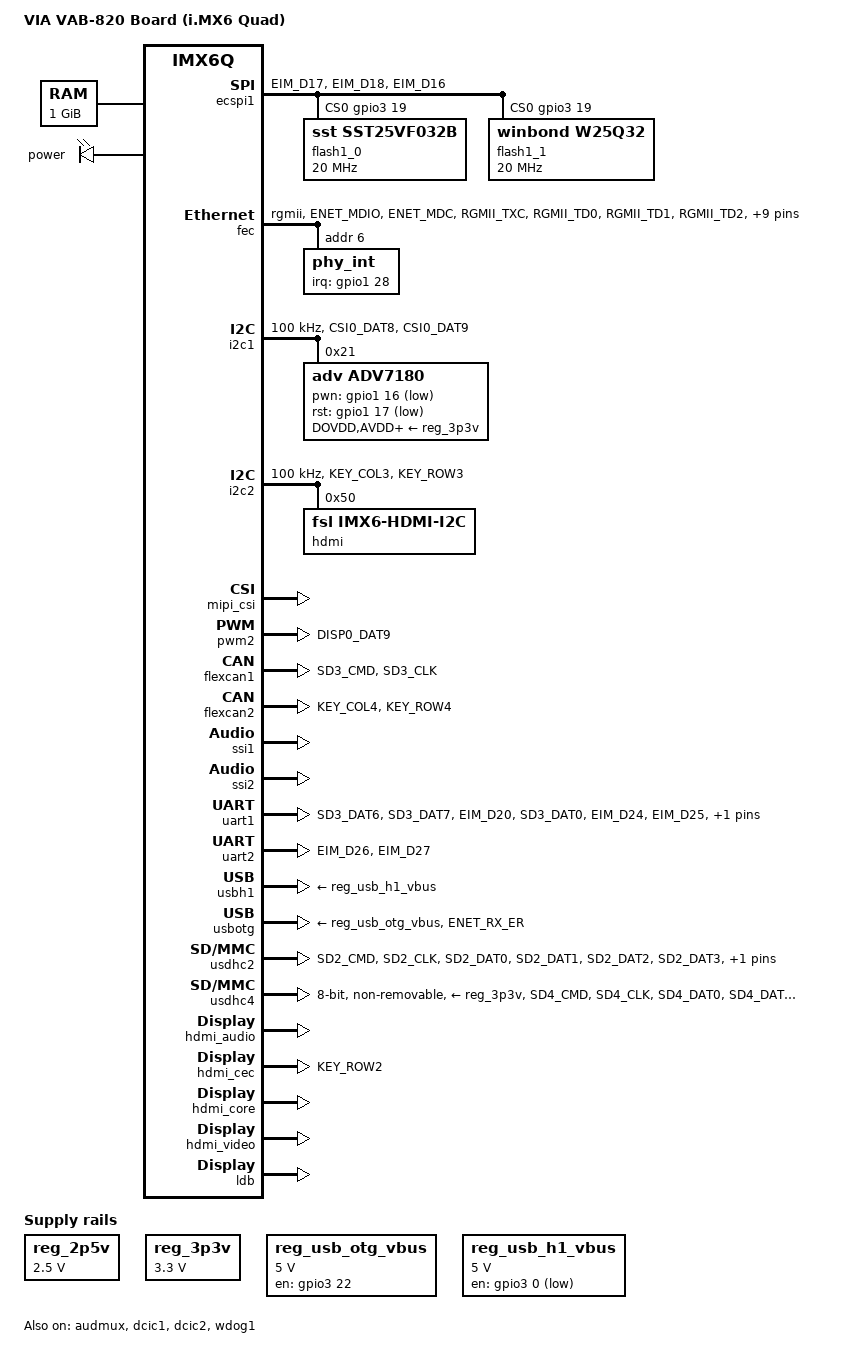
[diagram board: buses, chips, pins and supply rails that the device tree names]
/*
 * Copyright 2016 VIA Technologies, Inc.
 * Copyright 2012 Freescale Semiconductor, Inc.
 * Copyright 2011 Linaro Ltd.
 *
 * The code contained herein is licensed under the GNU General Public
 * License. You may obtain a copy of the GNU General Public License
 * Version 2 or later at the following locations:
 *
 * http://www.opensource.org/licenses/gpl-license.html
 * http://www.gnu.org/copyleft/gpl.html
 */

/dts-v1/;
#include "imx6q.dtsi"

/ {
	model = "VIA VAB-820 Board (i.MX6 Quad)";
	compatible = "via,imx6q-vab820", "fsl,imx6q-sabrelite", "fsl,imx6q";

	aliases {
		mmc0 = &usdhc4;
		mmc1 = &usdhc2;
		mxcfb0 = &mxcfb1;
		mxcfb1 = &mxcfb2;
		mxcfb2 = &mxcfb3;
		mxcfb3 = &mxcfb4;
	};

	memory {
		reg = <0x10000000 0x40000000>;
	};

	hannstar_cabc {
		compatible = "hannstar,cabc";

		lvds0 {
			gpios = <&gpio6 15 GPIO_ACTIVE_HIGH>;
		};
	};

	regulators {
		compatible = "simple-bus";
		#address-cells = <1>;
		#size-cells = <0>;

		reg_2p5v: regulator@0 {
			compatible = "regulator-fixed";
			reg = <0>;
			regulator-name = "2P5V";
			regulator-min-microvolt = <2500000>;
			regulator-max-microvolt = <2500000>;
			regulator-always-on;
		};

		reg_3p3v: regulator@1 {
			compatible = "regulator-fixed";
			reg = <1>;
			regulator-name = "3P3V";
			regulator-min-microvolt = <3300000>;
			regulator-max-microvolt = <3300000>;
			regulator-always-on;
		};

		reg_usb_otg_vbus: regulator@2 {
			compatible = "regulator-fixed";
			reg = <2>;
			regulator-name = "usb_otg_vbus";
			regulator-min-microvolt = <5000000>;
			regulator-max-microvolt = <5000000>;
			gpio = <&gpio3 22 0>;
			enable-active-high;
		};

		reg_usb_h1_vbus: regulator@3 {
			compatible = "regulator-fixed";
			regulator-name = "usb_h1_vbus";
			regulator-min-microvolt = <5000000>;
			regulator-max-microvolt = <5000000>;
			gpio = <&gpio3 0 1>; /* VAB-820 - low enable*/

			/* SDB - high enable
			gpio = <&gpio1 29 0>;
			enable-active-high; */
		};
	};

#if 0
	sound {
		compatible = "fsl,imx6q-vab820-sgtl5000",
		             "fsl,imx6q-sabrelite-sgtl5000",
			     "fsl,imx-audio-sgtl5000";
		model = "imx6q-vab820-sgtl5000";
		cpu-dai = <&ssi2>;
		audio-codec = <&codec>;
		audio-routing =
			"MIC_IN", "Mic Jack",
			"Mic Jack", "Mic Bias",
			"Headphone Jack", "HP_OUT";
		mux-int-port = <2>;
		mux-ext-port = <4>;
	};
#endif

	sound-hdmi {
		compatible = "fsl,imx6q-audio-hdmi",
			     "fsl,imx-audio-hdmi";
		model = "imx-audio-hdmi";
		hdmi-controller = <&hdmi_audio>;
	};

	mxcfb1: fb@0 {
		compatible = "fsl,mxc_sdc_fb";
		disp_dev = "lcd";
		interface_pix_fmt = "RGB666";
		mode_str = "LDB-XGA";
		default_bpp = <16>;
		int_clk = <0>;
		late_init = <0>;
		status = "disabled";
	};

	mxcfb2: fb@1 {
		compatible = "fsl,mxc_sdc_fb";
		disp_dev = "lcd";
		interface_pix_fmt = "RGB565";
		mode_str = "CLAA-WVGA";
		default_bpp = <16>;
		int_clk = <0>;
		late_init = <0>;
		status = "disabled";
	};

	mxcfb3: fb@2 {
		compatible = "fsl,mxc_sdc_fb";
		disp_dev = "lcd";
		interface_pix_fmt = "RGB666";
		mode_str = "LDB-SVGA";
		default_bpp = <16>;
		int_clk = <0>;
		late_init = <0>;
		status = "disabled";
	};

	mxcfb4: fb@3 {
		compatible = "fsl,mxc_sdc_fb";
		disp_dev = "lcd";
		interface_pix_fmt = "RGB666";
		mode_str = "LDB-VGA";
		default_bpp = <16>;
		int_clk = <0>;
		late_init = <0>;
		status = "disabled";
	};

#if 0
	lcd@0 {
		compatible = "fsl,lcd";
		ipu_id = <0>;
		disp_id = <0>;
		default_ifmt = "RGB565";
		pinctrl-names = "default";
		pinctrl-0 = <&pinctrl_ipu1_1>;
		status = "okay";
	};

	backlight {
		compatible = "pwm-backlight";
		pwms = <&pwm2 0 5000000>; /* VAB-820 */ /* SDB - <&pwm1 0 5000000> */
		brightness-levels = <0 4 8 16 32 64 128 255>;
		default-brightness-level = <7>;
		enable-gpios = <&gpio6 15  16 GPIO_ACTIVE_HIGH>; /* vab820 ldb backlight -- Hobart */
	};
#endif

	v4l2_cap_0 {
		compatible = "fsl,imx6q-v4l2-capture";
		ipu_id = <0>;
		csi_id = <0>;
		mclk_source = <0>;
		status = "okay";
	};

       /*Add by Adam : Remove the empty device to avoid error message*/
#if 0
	v4l2_cap_1 {
		compatible = "fsl,imx6q-v4l2-capture";
		ipu_id = <0>;
		csi_id = <1>;
		mclk_source = <0>;
		status = "okay";
	};
#endif

	v4l2_out {
		compatible = "fsl,mxc_v4l2_output";
		status = "okay";
	};

	leds {
		compatible = "gpio-leds";
		power {
			power-led-gpio = <&gpio4 5 0>;
		};
	};
};

&audmux {
	status = "okay";
	pinctrl-names = "default";
	pinctrl-0 = <&pinctrl_audmux>;
};

&ecspi1 {
	fsl,spi-num-chipselects = <1>;
	cs-gpios = <&gpio3 19 0>;
	pinctrl-names = "default";
	pinctrl-0 = <&pinctrl_ecspi1>;
	status = "okay";

	flash1_0: m25p80@0 {
		#address-cells = <1>;
		#size-cells = <1>;
		compatible = "sst,sst25vf032b"; /* VAB-820 */
		spi-max-frequency = <20000000>;
		reg = <0>;
	};

	flash1_1: m25p80@0 {
		#address-cells = <1>;
		#size-cells = <1>;
		compatible = "winbond,w25q32";
		spi-max-frequency = <20000000>;
		reg = <0>;
	};
};

#if 0
&ecspi3 {
	fsl,spi-num-chipselects = <2>;
	cs-gpios = <&gpio4 24 0>, <&gpio4 25 0>;
	pinctrl-names = "default";
	pinctrl-0 = <&pinctrl_ecspi3>;
	status = "okay";

	flash3_0: m25p80@0 {
		#address-cells = <1>;
		#size-cells = <1>;
		compatible = "sst,sst25vf032b";
		spi-max-frequency = <20000000>;
		reg = <0>;
	};

	flash3_1: m25p80@1 {
		#address-cells = <1>;
		#size-cells = <1>;
		compatible = "sst,sst25vf032b";
		spi-max-frequency = <20000000>;
		reg = <1>;
	};
};
#endif

&fec {
	pinctrl-names = "default";
	pinctrl-0 = <&pinctrl_enet>;
	phy-mode = "rgmii";
	status = "okay";

	#address-cells = <0>;
	#size-cells = <1>;

	phy_int {
		reg = <0x6>;
		interrupt-parent = <&gpio1>;
		interrupts = <28 IRQ_TYPE_LEVEL_LOW>;
	};
};

&i2c1 {
	clock-frequency = <100000>;
	pinctrl-names = "default";
	pinctrl-0 = <&pinctrl_i2c1>;
	status = "okay";

	adv7180: adv7180@21 {
		compatible = "adv,adv7180";
		reg = <0x21>;
		pinctrl-names = "default";
		pinctrl-0 = <&pinctrl_ipu1_4>;
		clocks = <&clks 201>;
		clock-names = "csi_mclk";
		DOVDD-supply = <&reg_3p3v>; /* 3.3v enabled via 2.8 VGEN6 */
		AVDD-supply = <&reg_3p3v>;  /* 1.8v */
		DVDD-supply = <&reg_3p3v>;  /* 1.8v */
		PVDD-supply = <&reg_3p3v>;  /* 1.8v */
		pwn-gpios = <&gpio1 16 GPIO_ACTIVE_LOW>;   /* VAB-820 */
		rst-gpios = <&gpio1 17 GPIO_ACTIVE_LOW>;   /* VAB-820 */
		csi_id = <0>;
		mclk = <24000000>;
		mclk_source = <0>;
		cvbs = <1>;
	};
};

&i2c2 {
	clock-frequency = <100000>;
	pinctrl-names = "default";
	pinctrl-0 = <&pinctrl_i2c2>;
	status = "okay";

	hdmi: edid@50 {
		compatible = "fsl,imx6-hdmi-i2c";
		reg = <0x50>;
	};
};

#if 0
&i2c3 {
        clock-frequency = <100000>;
        pinctrl-names = "default";
        pinctrl-0 = <&pinctrl_i2c3>;
        status = "okay";

        egalax_ts@04 {
                compatible = "eeti,egalax_ts";
                reg = <0x04>;
                interrupt-parent = <&gpio6>;
                interrupts = <8 2>;
                wakeup-gpios = <&gpio6 8 0>;
        };

	codec: sgtl5000@0a {
		compatible = "fsl,sgtl5000";
		reg = <0x0a>;
		clocks = <&clks 201>;
		VDDA-supply = <&reg_2p5v>;
		VDDIO-supply = <&reg_3p3v>;
	};
};
#endif

&mipi_csi {
	status = "okay";
	ipu_id = <0>;
	csi_id = <1>;
	v_channel = <0>;
	lanes = <2>;
};

&pcie {
	power-on-gpio = <&gpio1 19 0>;	/* VAB-820: SDB - <&gpio3 19 0>; */
	reset-gpio = <&gpio7 12 GPIO_ACTIVE_LOW>;
	wake-up-gpio = <&gpio5 20 GPIO_ACTIVE_LOW>;
	disable-gpio = <&gpio4 9 0>;
	status = "disabled";
};

&pwm2 {
	pinctrl-names = "default";
	pinctrl-0 = <&pinctrl_pwm2>;
	status = "okay";
};


&flexcan1 {
	pinctrl-names = "default";
	pinctrl-0 = <&pinctrl_flexcan1>;
	status = "okay";
};

&flexcan2 {
	pinctrl-names = "default";
	pinctrl-0 = <&pinctrl_flexcan2>;
	status = "okay";
};

&iomuxc {
	pinctrl-names = "default";
	pinctrl-0 = <&pinctrl_hog>;

	imx6q-sabrelite {
		pinctrl_hog: hoggrp {
			fsl,pins = <
				MX6QDL_PAD_GPIO_1__GPIO1_IO01	0x80000000
				MX6QDL_PAD_GPIO_2__GPIO1_IO02	0x80000000
				MX6QDL_PAD_GPIO_4__GPIO1_IO04	0x80000000
				MX6QDL_PAD_GPIO_5__GPIO1_IO05	0x80000000
				MX6QDL_PAD_GPIO_7__GPIO1_IO07	0x80000000
				MX6QDL_PAD_GPIO_8__GPIO1_IO08	0x80000000
				MX6QDL_PAD_GPIO_9__GPIO1_IO09	0x80000000
				MX6QDL_PAD_SD1_DAT0__GPIO1_IO16	0x80000000
				MX6QDL_PAD_SD1_DAT1__GPIO1_IO17	0x80000000
				MX6QDL_PAD_ENET_TX_EN__GPIO1_IO28	0x1b0b0
				MX6QDL_PAD_NANDF_D2__GPIO2_IO02	0x80000000

				MX6QDL_PAD_NANDF_D6__GPIO2_IO06 0x80000000
				MX6QDL_PAD_NANDF_D7__GPIO2_IO07 0x80000000
				MX6QDL_PAD_EIM_DA0__GPIO3_IO00	0x80000000
				MX6QDL_PAD_EIM_D19__GPIO3_IO19  0x80000000
				MX6QDL_PAD_EIM_D22__GPIO3_IO22  0x80000000
				MX6QDL_PAD_EIM_D28__GPIO3_IO28	0x80000000
				MX6QDL_PAD_GPIO_19__GPIO4_IO05	0x80000000
				MX6QDL_PAD_NANDF_ALE__GPIO6_IO08	0x80000000
				MX6QDL_PAD_NANDF_CS2__GPIO6_IO15	0x80000000
				MX6QDL_PAD_SD3_DAT5__GPIO7_IO00 0x80000000
				MX6QDL_PAD_SD3_DAT4__GPIO7_IO01 0x1f0b0
				MX6QDL_PAD_GPIO_16__GPIO7_IO11	0x80000000
				MX6QDL_PAD_GPIO_18__GPIO7_IO13	0x80000000
				MX6QDL_PAD_GPIO_0__CCM_CLKO1    0x80000000
				MX6QDL_PAD_GPIO_0__CCM_CLKO1	0x000000b0
			>;
		};

		pinctrl_audmux: audmuxgrp {
			fsl,pins = <
				MX6QDL_PAD_DISP0_DAT20__AUD4_TXC	0x130b0
				MX6QDL_PAD_DISP0_DAT21__AUD4_TXD	0x130b0
				MX6QDL_PAD_DISP0_DAT22__AUD4_TXFS	0x130b0
				MX6QDL_PAD_DISP0_DAT23__AUD4_RXD	0x130b0
			>;
		};

		pinctrl_audmux4: audmux4grp {
			fsl,pins = <
				MX6QDL_PAD_SD2_DAT0__AUD4_RXD		0x130b0
				MX6QDL_PAD_SD2_DAT3__AUD4_TXC		0x130b0
				MX6QDL_PAD_SD2_DAT2__AUD4_TXD		0x110b0
				MX6QDL_PAD_SD2_DAT1__AUD4_TXFS		0x130b0
			>;
		};

		pinctrl_ecspi1: ecspi1grp {
			fsl,pins = <
				MX6QDL_PAD_EIM_D17__ECSPI1_MISO		0x100b1
				MX6QDL_PAD_EIM_D18__ECSPI1_MOSI		0x100b1
				MX6QDL_PAD_EIM_D16__ECSPI1_SCLK		0x100b1
			>;
		};

		pinctrl_ecspi3: ecspi3grp {
			fsl,pins = <
				MX6QDL_PAD_DISP0_DAT2__ECSPI3_MISO	0x100b1
				MX6QDL_PAD_DISP0_DAT1__ECSPI3_MOSI	0x100b1
				MX6QDL_PAD_DISP0_DAT0__ECSPI3_SCLK	0x100b1
				MX6QDL_PAD_DISP0_DAT3__GPIO4_IO24	0x80000000
				MX6QDL_PAD_DISP0_DAT4__GPIO4_IO25	0x80000000
			>;
		};

		pinctrl_enet: enetgrp {
			fsl,pins = <
				MX6QDL_PAD_ENET_MDIO__ENET_MDIO		0x1b0b0
				MX6QDL_PAD_ENET_MDC__ENET_MDC		0x1b0b0
				MX6QDL_PAD_RGMII_TXC__RGMII_TXC		0x1b0b0
				MX6QDL_PAD_RGMII_TD0__RGMII_TD0		0x1b0b0
				MX6QDL_PAD_RGMII_TD1__RGMII_TD1		0x1b0b0
				MX6QDL_PAD_RGMII_TD2__RGMII_TD2		0x1b0b0
				MX6QDL_PAD_RGMII_TD3__RGMII_TD3		0x1b0b0
				MX6QDL_PAD_RGMII_TX_CTL__RGMII_TX_CTL	0x1b0b0
				MX6QDL_PAD_ENET_REF_CLK__ENET_TX_CLK	0x1b0b0
				MX6QDL_PAD_RGMII_RXC__RGMII_RXC		0x1b0b0
				MX6QDL_PAD_RGMII_RD0__RGMII_RD0		0x1b0b0
				MX6QDL_PAD_RGMII_RD1__RGMII_RD1		0x1b0b0
				MX6QDL_PAD_RGMII_RD2__RGMII_RD2		0x1b0b0
				MX6QDL_PAD_RGMII_RD3__RGMII_RD3		0x1b0b0
				MX6QDL_PAD_RGMII_RX_CTL__RGMII_RX_CTL	0x1b0b0
			>;
		};

		pinctrl_i2c1: i2c1grp {
			fsl,pins = <
				MX6QDL_PAD_CSI0_DAT8__I2C1_SDA		0x4001b8b1
				MX6QDL_PAD_CSI0_DAT9__I2C1_SCL		0x4001b8b1
			>;
		};

		pinctrl_i2c2: i2c2grp {
			fsl,pins = <
				MX6QDL_PAD_KEY_COL3__I2C2_SCL		0x4001b8b1
				MX6QDL_PAD_KEY_ROW3__I2C2_SDA		0x4001b8b1
			>;
		};

		pinctrl_i2c3: i2c3grp {
			fsl,pins = <
				MX6QDL_PAD_GPIO_3__I2C3_SCL		0x4001b8b1
				MX6QDL_PAD_GPIO_6__I2C3_SDA		0x4001b8b1
			>;
		};

		pinctrl_uart1: uart1grp {
			fsl,pins = <
				MX6QDL_PAD_SD3_DAT6__UART1_TX_DATA	0x80000000
				MX6QDL_PAD_SD3_DAT7__UART1_RX_DATA	0x80000000
				MX6QDL_PAD_EIM_D20__UART1_CTS_B		0x80000000
				MX6QDL_PAD_SD3_DAT0__UART1_RTS_B	0x130b0
				MX6QDL_PAD_EIM_D24__UART1_DTR_B		0x130b0
				MX6QDL_PAD_EIM_D25__UART1_DSR_B		0x80000000
				MX6QDL_PAD_EIM_D23__UART1_DCD_B		0x80000000
			>;
		};

		pinctrl_uart2: uart2grp {
			fsl,pins = <
				MX6QDL_PAD_EIM_D26__UART2_TX_DATA	0x1b0b1
				MX6QDL_PAD_EIM_D27__UART2_RX_DATA	0x1b0b1
			>;
		};

		pinctrl_usbotg: usbotggrp {
			fsl,pins = <
				MX6QDL_PAD_ENET_RX_ER__USB_OTG_ID	0x17059
			>;
		};

		pinctrl_usdhc2: usdhc2grp {
			fsl,pins = <
				MX6QDL_PAD_SD2_CMD__SD2_CMD		0x17059
				MX6QDL_PAD_SD2_CLK__SD2_CLK		0x10059
				MX6QDL_PAD_SD2_DAT0__SD2_DATA0		0x17059
				MX6QDL_PAD_SD2_DAT1__SD2_DATA1		0x17059
				MX6QDL_PAD_SD2_DAT2__SD2_DATA2		0x17059
				MX6QDL_PAD_SD2_DAT3__SD2_DATA3		0x17059
			>;
		};

		pinctrl_usdhc3: usdhc3grp {
			fsl,pins = <
				MX6QDL_PAD_SD3_CMD__SD3_CMD		0x17059
				MX6QDL_PAD_SD3_CLK__SD3_CLK		0x10059
				MX6QDL_PAD_SD3_DAT0__SD3_DATA0		0x17059
				MX6QDL_PAD_SD3_DAT1__SD3_DATA1		0x17059
				MX6QDL_PAD_SD3_DAT2__SD3_DATA2		0x17059
				MX6QDL_PAD_SD3_DAT3__SD3_DATA3		0x17059
			>;
		};

		pinctrl_usdhc4: usdhc4grp {
			fsl,pins = <
				MX6QDL_PAD_SD4_CMD__SD4_CMD		0x17059
				MX6QDL_PAD_SD4_CLK__SD4_CLK		0x10059
				MX6QDL_PAD_SD4_DAT0__SD4_DATA0		0x17059
				MX6QDL_PAD_SD4_DAT1__SD4_DATA1		0x17059
				MX6QDL_PAD_SD4_DAT2__SD4_DATA2		0x17059
				MX6QDL_PAD_SD4_DAT3__SD4_DATA3		0x17059
				MX6QDL_PAD_SD4_DAT4__SD4_DATA4		0x17059
				MX6QDL_PAD_SD4_DAT5__SD4_DATA5		0x17059
				MX6QDL_PAD_SD4_DAT6__SD4_DATA6		0x17059
				MX6QDL_PAD_SD4_DAT7__SD4_DATA7		0x17059
			>;
		};

		pinctrl_ipu1_1: ipu1grp-1 {
			fsl,pins = <
				MX6QDL_PAD_DI0_DISP_CLK__IPU1_DI0_DISP_CLK 0x10
				MX6QDL_PAD_DI0_PIN15__IPU1_DI0_PIN15       0x10
				MX6QDL_PAD_DI0_PIN2__IPU1_DI0_PIN02        0x10
				MX6QDL_PAD_DI0_PIN3__IPU1_DI0_PIN03        0x10
				MX6QDL_PAD_DI0_PIN4__IPU1_DI0_PIN04        0x80000000
				MX6QDL_PAD_DISP0_DAT0__IPU1_DISP0_DATA00   0x10
				MX6QDL_PAD_DISP0_DAT1__IPU1_DISP0_DATA01   0x10
				MX6QDL_PAD_DISP0_DAT2__IPU1_DISP0_DATA02   0x10
				MX6QDL_PAD_DISP0_DAT3__IPU1_DISP0_DATA03   0x10
				MX6QDL_PAD_DISP0_DAT4__IPU1_DISP0_DATA04   0x10
				MX6QDL_PAD_DISP0_DAT5__IPU1_DISP0_DATA05   0x10
				MX6QDL_PAD_DISP0_DAT6__IPU1_DISP0_DATA06   0x10
				MX6QDL_PAD_DISP0_DAT7__IPU1_DISP0_DATA07   0x10
				MX6QDL_PAD_DISP0_DAT8__IPU1_DISP0_DATA08   0x10
				MX6QDL_PAD_DISP0_DAT9__IPU1_DISP0_DATA09   0x10
				MX6QDL_PAD_DISP0_DAT10__IPU1_DISP0_DATA10  0x10
				MX6QDL_PAD_DISP0_DAT11__IPU1_DISP0_DATA11  0x10
				MX6QDL_PAD_DISP0_DAT12__IPU1_DISP0_DATA12  0x10
				MX6QDL_PAD_DISP0_DAT13__IPU1_DISP0_DATA13  0x10
				MX6QDL_PAD_DISP0_DAT14__IPU1_DISP0_DATA14  0x10
				MX6QDL_PAD_DISP0_DAT15__IPU1_DISP0_DATA15  0x10
				MX6QDL_PAD_DISP0_DAT16__IPU1_DISP0_DATA16  0x10
				MX6QDL_PAD_DISP0_DAT17__IPU1_DISP0_DATA17  0x10
				MX6QDL_PAD_DISP0_DAT18__IPU1_DISP0_DATA18  0x10
				MX6QDL_PAD_DISP0_DAT19__IPU1_DISP0_DATA19  0x10
				MX6QDL_PAD_DISP0_DAT20__IPU1_DISP0_DATA20  0x10
				MX6QDL_PAD_DISP0_DAT21__IPU1_DISP0_DATA21  0x10
				MX6QDL_PAD_DISP0_DAT22__IPU1_DISP0_DATA22  0x10
				MX6QDL_PAD_DISP0_DAT23__IPU1_DISP0_DATA23  0x10
			>;
		};

		pinctrl_ipu1_4: ipu1grp-4 {
			fsl,pins = <
				MX6QDL_PAD_CSI0_DAT12__IPU1_CSI0_DATA12		0x80000000
				MX6QDL_PAD_CSI0_DAT13__IPU1_CSI0_DATA13		0x80000000
				MX6QDL_PAD_CSI0_DAT14__IPU1_CSI0_DATA14		0x80000000
				MX6QDL_PAD_CSI0_DAT15__IPU1_CSI0_DATA15		0x80000000
				MX6QDL_PAD_CSI0_DAT16__IPU1_CSI0_DATA16		0x80000000
				MX6QDL_PAD_CSI0_DAT17__IPU1_CSI0_DATA17		0x80000000
				MX6QDL_PAD_CSI0_DAT18__IPU1_CSI0_DATA18		0x80000000
				MX6QDL_PAD_CSI0_DAT19__IPU1_CSI0_DATA19		0x80000000
				MX6QDL_PAD_CSI0_PIXCLK__IPU1_CSI0_PIXCLK	0x80000000
				MX6QDL_PAD_CSI0_MCLK__IPU1_CSI0_HSYNC		0x80000000
				MX6QDL_PAD_CSI0_VSYNC__IPU1_CSI0_VSYNC		0x80000000
			>;
		};

		pinctrl_pwm2: pwm2grp {
			fsl,pins = <
				MX6QDL_PAD_DISP0_DAT9__PWM2_OUT		0x1b0b1
			>;
		};

		pinctrl_flexcan1: flexcan1grp {
			fsl,pins = <
				MX6QDL_PAD_SD3_CMD__FLEXCAN1_TX	0x80000000
				MX6QDL_PAD_SD3_CLK__FLEXCAN1_RX	0x80000000
			>;
		};

		pinctrl_flexcan2: flexcan2grp {
			fsl,pins = <
				MX6QDL_PAD_KEY_COL4__FLEXCAN2_TX 0x80000000
				MX6QDL_PAD_KEY_ROW4__FLEXCAN2_RX 0x80000000
			>;
		};

		pinctrl_usbh1: usbh1grp {
			fsl,pins = <
				MX6QDL_PAD_EIM_D30__USB_H1_OC		0x80000000
			>;
		};

		pinctrl_hdmi_cec: hdmicecgrp {
			fsl,pins = <
				MX6QDL_PAD_KEY_ROW2__HDMI_TX_CEC_LINE	0x1f8b0
			>;
		};
	};
};

#if 0
&ldb {
	status = "okay";

	lvds-channel@0 {
		fsl,data-mapping = "spwg";
		fsl,data-width = <18>;
		status = "okay";

		display-timings {
			native-mode = <&timing0>;
			timing0: hsd100pxn1 {
				clock-frequency = <65000000>;
				hactive = <1024>;
				vactive = <768>;
				hback-porch = <220>;
				hfront-porch = <40>;
				vback-porch = <21>;
				vfront-porch = <7>;
				hsync-len = <60>;
				vsync-len = <10>;
			};
		};
	};
};
#endif

&sata {
	status = "disabled";
};

&ssi1 {
	fsl,mode = "i2s-slave";
	status = "okay";
};

&ssi2 {
	fsl,mode = "i2s-slave";
	status = "okay";
};

&uart1 {
	pinctrl-names = "default";
	pinctrl-0 = <&pinctrl_uart1>;
	status = "okay";
	fsl,uart-has-rtscts;
	fsl,dte-mode;
};

&uart2 {
	status = "okay";
	pinctrl-names = "default";
	pinctrl-0 = <&pinctrl_uart2>;
};

&usbh1 {
	vbus-supply = <&reg_usb_h1_vbus>;
	pinctrl-1 = <&pinctrl_usbh1>;
	status = "okay";
};

&usbotg {
	vbus-supply = <&reg_usb_otg_vbus>;
	pinctrl-names = "default";
	pinctrl-0 = <&pinctrl_usbotg>;
	disable-over-current;
	srp-disable;
	hnp-disable;
	adp-disable;
	status = "okay";
};

&usdhc2 {
	pinctrl-names = "default";
	pinctrl-0 = <&pinctrl_usdhc2>;
	cd-gpios = <&gpio2 2 0>;
	no-1-8-v;
	keep-power-in-suspend;
	enable-sdio-wakeup;
	status = "okay";
};

&usdhc3 {
	pinctrl-names = "default";
	pinctrl-0 = <&pinctrl_usdhc3>;
	cd-gpios = <&gpio7 0 0>;
	wp-gpios = <&gpio7 1 0>;
	vmmc-supply = <&reg_3p3v>;
	status = "disabled";
};

&usdhc4 {
	pinctrl-names = "default";
	pinctrl-0 = <&pinctrl_usdhc4>;
	bus-width = <8>;
	non-removable;
	no-1-8-v;
	keep-power-in-suspend;
	vmmc-supply = <&reg_3p3v>;
	status = "okay";
};

&hdmi_audio {
	status = "okay";
};

&hdmi_cec {
	pinctrl-names = "default";
	pinctrl-0 = <&pinctrl_hdmi_cec>;
	status = "okay";
};

&hdmi_core {
	ipu_id = <0>;
	disp_id = <0>;
	status = "okay";
};

&hdmi_video {
	fsl,phy_reg_vlev = <0x0294>;
	fsl,phy_reg_cksymtx = <0x800d>;
	status = "okay";
};

&dcic1 {
	dcic_id = <0>;
	dcic_mux = "dcic-hdmi";
	status = "okay";
};

&dcic2 {
	dcic_id = <1>;
	dcic_mux = "dcic-lvds1";
	status = "okay";
};

/* ------- override --------- */

&mxcfb1 {
	disp_dev = "hdmi";
	mode_str = "1920x1080M@60";
	status = "okay";
};

&mxcfb2 {
	status = "disabled";
};

&mxcfb3 {
	status = "disaled";
};

&mxcfb4 {
	status = "disabled";
};

&ldb {
	status = "okay";

	lvds-channel@0 {
		fsl,data-width = <24>;
		fsl,data-mapping = "spwg";
		crtc = "ipu2-di0";
		status = "okay";
		primary;
		display-timings {
			native-mode = <&timing0>;

			timing0: 480C60 {
				/* 800x480@60*/
				clock-frequency = <33500837>;
				hactive = <800>;
				vactive = <480>;
				hfront-porch = <164>;
				hback-porch = <89>;
				hsync-len = <10>;
				vback-porch = <23>;
				vfront-porch = <10>;
				vsync-len = <10>;
				hsync-active = <0>;
			};

			timing1: LDB-XGA {
				/* 1024x768@60 */
				clock-frequency = <64998375>;
				hactive = <1024>;
				vactive = <768>;
				hfront-porch = <40>;
				hback-porch = <220>;
				hsync-len = <60>;
				vback-porch = <21>;
				vfront-porch = <7>;
				vsync-len = <10>;
				hsync-active = <0>;
			};

			timing2: LDB-WSXGA+ {
				/* 1680x1050@60 */
				clock-frequency = <146250000>;
				hactive = <1680>;
				vactive = <1050>;
				hfront-porch = <104>;
				hback-porch = <280>;
				hsync-len = <176>;
				vback-porch = <30>;
				vfront-porch = <3>;
				vsync-len = <6>;
				hsync-active = <0>;
			};

		};
	};

	lvds-channel@1 {
		crtc = "ipu2-di1";
	};
};

#if 0
&i2c3 {
	codec: sgtl5000@0a {
		compatible = "fsl,sgtl5000";
		reg = <0x0a>;
		clocks = <&clks 201>;
		VDDA-supply = <&reg_3p3v>;
		VDDIO-supply = <&reg_3p3v>;
	};
};
#endif

&wdog1 {
	status = "okay";
};

&wdog2 {
	status = "disabled";
};
